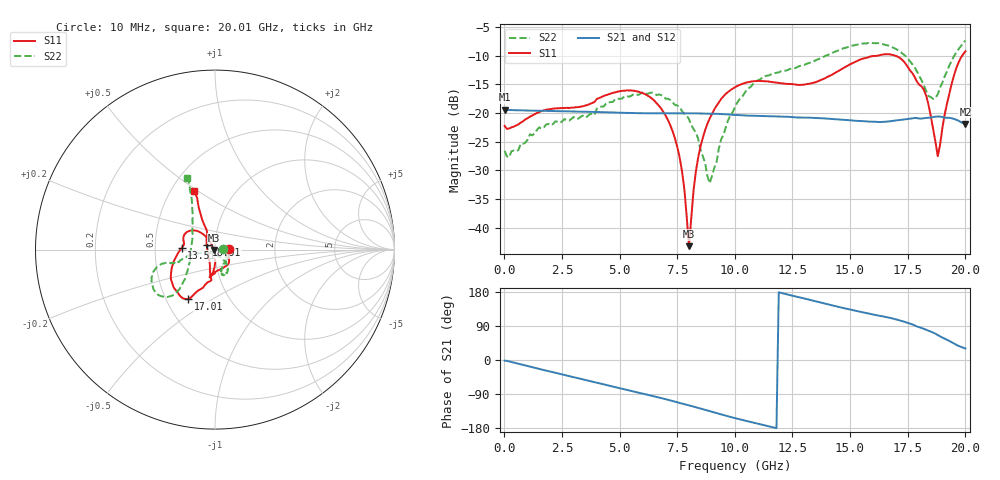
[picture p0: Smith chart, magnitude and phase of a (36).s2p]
! Hittite Microwave Corporation
! 2 Elizabeth Drive
! Chelmsford, MA 01824
! http://www.hittite.com
! Tel: 978-250-3343
! Fax: 978-250-3373
! Device:  HMC424LP3
! Description: 0.5 dB GaAs MMIC 6-Bit Digital Attenuator
! Frequency:  DC -  13.00 GHz
! Package:  LP3  - 3x3 mm Quad Flatpack No-Lead (QFN) Plastic Package: 16 pin
! Ports:  2 RF, 7 DC
!  Pad  1  = Ground
!  Pad  2  = RF IN  = Port 1
!  Pad  3  = Ground
!  Pad  4  = V6
!  Pad  5  = V5
!  Pad  6  = V4
!  Pad  7  = V3
!  Pad  8  = V2
!  Pad  9  = V1
!  Pad 10  = Ground
!  Pad 11  = RF OUT  = Port 2
!  Pad 12  = Ground
!  Pad 15  = VEE
! Control:  -5 Volt control voltage
! State:  34
! Attenuation:  17.0 dB
! Voltages:  Vdd = -5.00 Volts  Idd =  -2.273 mA
!  V1  = 0.00 Volts  I1  =  29.0 uA
!  V2  = -5.00 Volts  I2  =  -1.0 uA
!  V3  = 0.00 Volts  I3  =  29.0 uA
!  V4  = 0.00 Volts  I4  =  29.0 uA
!  V5  = 0.00 Volts  I5  =  29.0 uA
!  V6  = -5.00 Volts  I6  =  -1.0 uA
! Data:  The device was measured on evaluation board 105354-1.
!  Data was collected using a calibrated network analyzer.
!  The evaluation circuit board was modeled and simulated.  This was use
!  to removed the evaluation board circuit from the measured data.
!  The reference plane is the edge of the package pin.
! Misc:  Lot xxxx, Unit 1
!  Application 20120001, Data collected in Application 20090083
! Date Measured:  2009-09-15
! Date:  2012-05-14  MJV
! Note:
!  Hittite supplies this data as a sample of measured data at the package pin
!  for this product.  Your particular data for this product may vary.
!  Data was taken at 25 degrees C.
!  Hittite reserves the right to change this data at anytime.
# GHz S MA R 50
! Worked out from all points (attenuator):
!   201 points, 10 MHz to 20.01 GHz, reference 50 ohm
!   highest |S21| = -19.40 dB at 10 MHz (marker M1); lowest = -21.9 dB at 20.01 GHz (marker M2)
!   lowest |S11| = -43.2 dB at 8.01 GHz (marker M3), VSWR 1.01, Z = 49.4 - j0.236 ohm
!   |S11| at or under -10 dB: start of sweep to 16.23 GHz; 16.95 GHz to 19.87 GHz (2.922 GHz wide, 15.9 % of centre)
!   |S22| runs from -32.2 to -7.4 dB; largest |S21 - S12| = 0.0012
!   S11 on the Smith chart (normalised r, x): 10 MHz: 1.17, +0.01; 13.51 GHz: 0.69, +0.01; 17.01 GHz: 0.65, -0.39; 18.91 GHz: 0.91, +0.04; 20.01 GHz: 0.65, +0.48
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0.01  0.07713 3.0  0.1071 -1.8  0.1063 -1.3  0.04673 5.4
3.41  0.1144 -77.2  0.1026 -51.5  0.1024 -51.5  0.09477 -54.2
5.31  0.1572 -101.2  0.1 -79.0  0.09997 -79.0  0.1402 -73.4
6.71  0.1154 -93.8  0.09936 -99.0  0.09917 -99.0  0.145 -63.6
7.21  0.07744 -89.8  0.09922 -106.6  0.09903 -106.6  0.1295 -55.6
7.61  0.04069 -89.3  0.09937 -113.0  0.09922 -112.9  0.1119 -52.1
7.81  0.02185 -96.5  0.09944 -116.3  0.09928 -116.3  0.09803 -52.0
8.01  0.006915 -159.8  0.09936 -119.6  0.09919 -119.6  0.08863 -49.7
8.31  0.03085 124.1  0.09919 -124.6  0.09904 -124.6  0.06767 -53.1
8.91  0.08952 125.2  0.09872 -135.0  0.09866 -135.0  0.02443 -106.3
9.41  0.1324 131.6  0.09791 -143.7  0.09777 -143.7  0.05894 -159.9
10.01  0.1675 140.4  0.09624 -153.3  0.09602 -153.4  0.1124 -168.9
11.21  0.1894 157.3  0.09405 -171.1  0.09385 -171.1  0.2042 -162.8
13.41  0.1833 175.9  0.09057 156.3  0.09035 156.3  0.28 -164.8
13.51  0.1856 177.3  0.09039 154.8  0.09019 154.8  0.2877 -165.1
16.71  0.3247 -122.8  0.08449 111.6  0.08441 111.6  0.3834 -136.2
17.01  0.3131 -118.5  0.08614 107.0  0.08603 107.0  0.3598 -133.8
18.21  0.1591 -98.3  0.09009 82.2  0.08999 82.3  0.1733 -148.3
18.81  0.04205 -165.4  0.09314 65.8  0.09295 65.8  0.1455 148.2
18.91  0.05255 152.9  0.09309 62.3  0.09279 62.4  0.1661 140.1
19.41  0.178 113.3  0.08997 47.0  0.08987 47.0  0.2836 116.7
20.01  0.3445 110.0  0.08033 30.5  0.08014 30.5  0.4282 111.1
